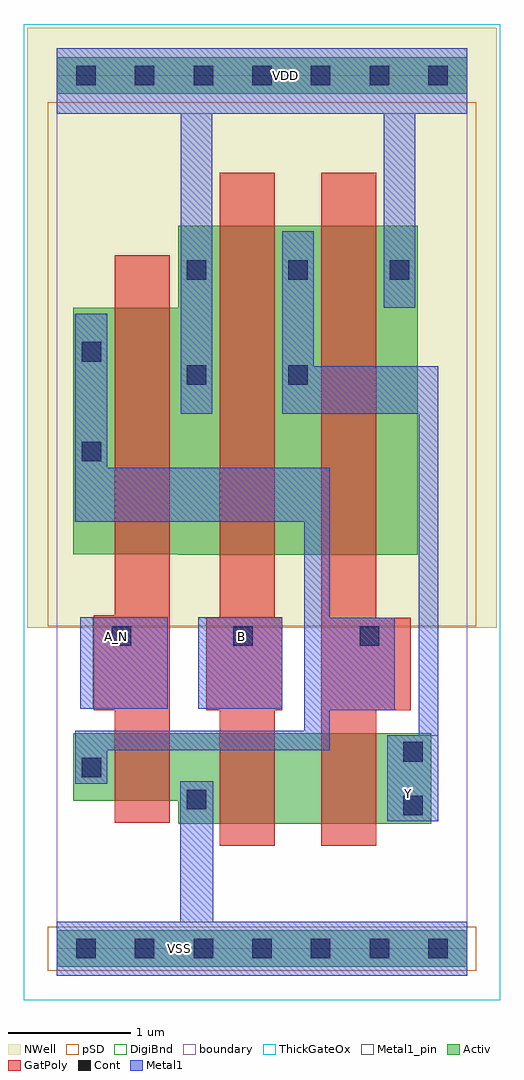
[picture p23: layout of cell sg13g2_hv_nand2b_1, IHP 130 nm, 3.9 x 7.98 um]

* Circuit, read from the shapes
.subckt sg13g2_hv_nand2b_1 A_N B VDD VSS Y
XM1 VSS A_N n1 VSS sg13_hv_nmos w=0.55u l=0.45u
XM2 n2 B VSS VSS sg13_hv_nmos w=0.74u l=0.45u
XM3 Y n1 n2 VSS sg13_hv_nmos w=0.74u l=0.45u
XM4 VDD A_N n1 VDD sg13_hv_pmos w=2.015u l=0.45u
XM5 Y B VDD VDD sg13_hv_pmos w=2.69u l=0.45u
XM6 VDD n1 Y VDD sg13_hv_pmos w=2.69u l=0.45u
.ends

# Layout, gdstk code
import gdstk
lib = gdstk.Library(unit=1e-6, precision=1e-09)
def R(c, l, rs):  # rectangles x0, y0, x1, y1
    for r in rs: c.add(gdstk.rectangle(r[:2], r[2:], *l))
def A(c, l, x, y, w, h, nx, ny, dx, dy):  # array of equal rectangles
    R(c, l, [(x+i*dx, y+j*dy, x+i*dx+w, y+j*dy+h) for i in range(nx) for j in range(ny)])
def P(c, l, *ps):  # polygons
    for p in ps: c.add(gdstk.Polygon(p, *l))
Activ = (1, 0)
GatPoly = (5, 0)
Cont = (6, 0)
Metal1 = (8, 0)
Metal1_pin = (8, 2)
pSD = (14, 0)
DigiBnd = (16, 0)
NWell = (31, 0)
ThickGateOx = (44, 0)
boundary = (189, 4)

sg13g2_hv_nand2b_1 = lib.new_cell('sg13g2_hv_nand2b_1')
R(sg13g2_hv_nand2b_1, Activ, [(0,-0.15,3.36,0.15), (0,6.99,3.36,7.29)])
P(sg13g2_hv_nand2b_1, Activ, [(0.995,1.02),(0.995,1.21),(0.135,1.21),(0.135,1.76),(3.065,1.76),(3.065,1.02)],
  [(0.995,3.22),(0.995,3.225),(0.135,3.225),(0.135,5.24),(0.995,5.24),(0.995,5.91),(2.955,5.91),(2.955,3.22)])
P(sg13g2_hv_nand2b_1, GatPoly, [(2.165,0.84),(2.165,6.345),(2.615,6.345),(2.615,2.705),(2.895,2.705),(2.895,1.95),(2.615,1.95),(2.615,0.84)],
  [(1.335,0.84),(1.335,1.95),(1.225,1.95),(1.225,2.705),(1.335,2.705),(1.335,6.345),(1.785,6.345),(1.785,2.705),(1.845,2.705),(1.845,1.95),(1.785,1.95),(1.785,0.84)],
  [(0.475,1.03),(0.475,1.95),(0.305,1.95),(0.305,2.725),(0.475,2.725),(0.475,5.67),(0.925,5.67),(0.925,1.03)])
A(sg13g2_hv_nand2b_1, Cont, 0.16, -0.08, 0.16, 0.16, 7, 2, 0.48, 7.14)
A(sg13g2_hv_nand2b_1, Cont, 1.065, 5.47, 0.16, 0.16, 3, 1, 0.83, 0)
R(sg13g2_hv_nand2b_1, Cont, [(2.835,1.09,2.995,1.25), (1.065,1.14,1.225,1.3), (0.205,1.4,0.365,1.56), (2.835,1.53,2.995,1.69), (0.45,2.475,0.61,2.635), (1.445,2.475,1.605,2.635), (2.48,2.475,2.64,2.635), (0.205,3.985,0.365,4.145), (1.065,4.61,1.225,4.77), (1.895,4.61,2.055,4.77), (0.205,4.8,0.365,4.96)])
R(sg13g2_hv_nand2b_1, Metal1, [(0.195,1.96,0.91,2.71), (1.16,1.96,1.845,2.71)])
P(sg13g2_hv_nand2b_1, Metal1, [(0.155,1.35),(0.155,1.78),(2.025,1.78),(2.025,3.49),(0.155,3.49),(0.155,5.19),(0.415,5.19),(0.415,3.93),(2.235,3.93),(2.235,2.705),(2.765,2.705),(2.765,1.95),(2.235,1.95),(2.235,1.62),(0.415,1.62),(0.415,1.35)],
  [(2.705,1.04),(2.705,1.745),(2.96,1.745),(2.96,4.375),(1.845,4.375),(1.845,5.865),(2.105,5.865),(2.105,4.76),(3.12,4.76),(3.12,1.04)],
  [(0,-0.22),(0,0.22),(1.01,0.22),(1.01,1.37),(1.28,1.37),(1.28,0.22),(3.36,0.22),(3.36,-0.22)],
  [(1.015,4.375),(1.015,6.825),(0,6.825),(0,7.36),(3.36,7.36),(3.36,6.825),(2.935,6.825),(2.935,5.24),(2.675,5.24),(2.675,6.825),(1.275,6.825),(1.275,4.375)])
R(sg13g2_hv_nand2b_1, Metal1_pin, [(0,-0.22,3.36,0.22), (2.705,1.04,3.12,1.745), (0.295,1.96,0.91,2.71), (1.16,1.96,1.845,2.71), (0,6.825,3.36,7.36)])
R(sg13g2_hv_nand2b_1, pSD, [(-0.07,-0.18,3.43,0.18), (-0.07,2.635,3.43,6.92)])
R(sg13g2_hv_nand2b_1, DigiBnd, [(0,0,3.36,7.14)])
R(sg13g2_hv_nand2b_1, NWell, [(-0.24,2.625,3.6,7.53)])
R(sg13g2_hv_nand2b_1, ThickGateOx, [(-0.27,-0.42,3.63,7.56)])
R(sg13g2_hv_nand2b_1, boundary, [(0,0,3.36,7.14)])
sg13g2_hv_nand2b_1.add(gdstk.Label('VSS', (1.005,0), layer=8, texttype=25))
sg13g2_hv_nand2b_1.add(gdstk.Label('A_N', (0.49,2.555), layer=8, texttype=25))
sg13g2_hv_nand2b_1.add(gdstk.Label('Y', (2.88,1.27), layer=8, texttype=25))
sg13g2_hv_nand2b_1.add(gdstk.Label('B', (1.51,2.555), layer=8, texttype=25))
sg13g2_hv_nand2b_1.add(gdstk.Label('VDD', (1.875,7.14), layer=8, texttype=25))

lib.write_gds('sg13g2_hv_nand2b_1.gds')
